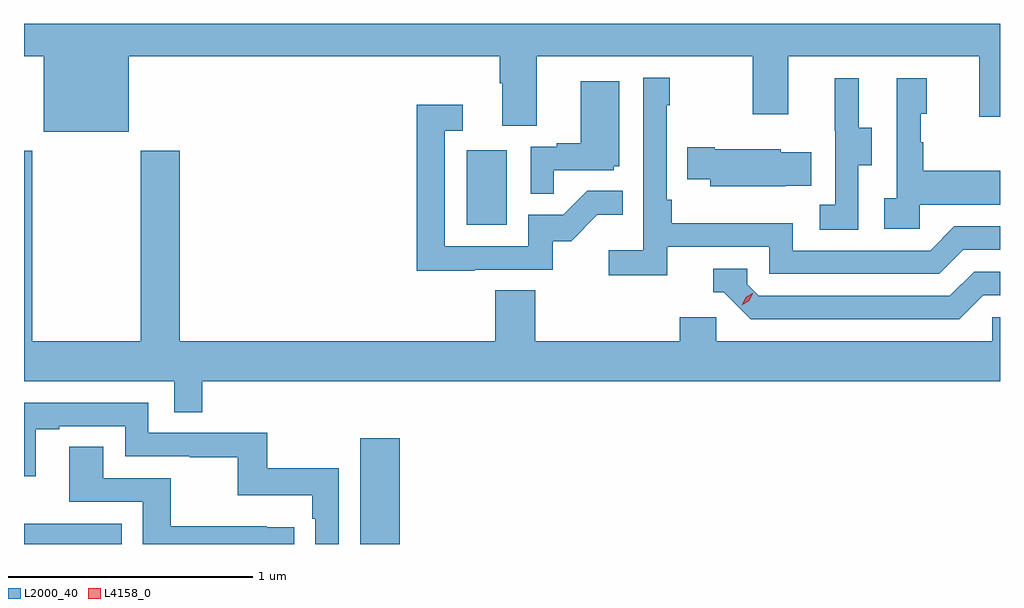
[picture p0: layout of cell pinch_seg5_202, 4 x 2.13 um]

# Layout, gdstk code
import gdstk
lib = gdstk.Library(unit=1e-6, precision=1e-09)
def R(c, l, rs):  # rectangles x0, y0, x1, y1
    for r in rs: c.add(gdstk.rectangle(r[:2], r[2:], *l))
def P(c, l, *ps):  # polygons
    for p in ps: c.add(gdstk.Polygon(p, *l))
L2000_40 = (2000, 40)
L4158_0 = (4158, 0)

pinch_seg5_202 = lib.new_cell('pinch_seg5_202')
R(pinch_seg5_202, L2000_40, [(986.238,913.368,986.639,913.452), (987.617,913.368,987.778,913.801), (988.052,914.676,988.216,914.983)])
P(pinch_seg5_202, L2000_40, [(986.668,915.368),(988.187,915.368),(988.187,915.256),(988.199,915.256),(988.199,915.082),(988.339,915.082),(988.339,915.368),(989.224,915.368),(989.224,915.129),(989.371,915.129),(989.371,915.368),(990.152,915.368),(990.152,915.12),(990.238,915.12),(990.238,915.5),(986.238,915.5),(986.238,915.368),(986.318,915.368),(986.318,915.059),(986.668,915.059)],
  [(988.874,914.586),(989.292,914.586),(989.292,914.475),(989.989,914.475),(990.088,914.574),(990.238,914.574),(990.238,914.67),(990.051,914.67),(989.952,914.571),(989.388,914.571),(989.388,914.683),(988.892,914.683),(988.892,914.779),(988.872,914.779),(988.872,915.167),(988.885,915.167),(988.885,915.28),(988.776,915.28),(988.776,914.572),(988.635,914.572),(988.635,914.47),(988.874,914.47)],
  [(989.91,914.759),(990.238,914.759),(990.238,914.899),(989.923,914.899),(989.923,915.014),(989.913,915.014),(989.913,915.132),(989.938,915.132),(989.938,915.277),(989.814,915.277),(989.814,914.786),(989.763,914.786),(989.763,914.661),(989.91,914.661)],
  [(989.658,914.92),(989.713,914.92),(989.713,915.075),(989.659,915.075),(989.659,915.277),(989.561,915.277),(989.561,915.063),(989.562,915.063),(989.562,914.759),(989.499,914.759),(989.499,914.656),(989.658,914.656)],
  [(988.409,914.901),(988.656,914.901),(988.656,914.916),(988.678,914.916),(988.678,915.265),(988.52,915.265),(988.52,915.01),(988.421,915.01),(988.421,914.997),(988.314,914.997),(988.314,914.803),(988.409,914.803)],
  [(988.085,914.493),(988.404,914.493),(988.404,914.61),(988.48,914.61),(988.587,914.717),(988.691,914.717),(988.691,914.816),(988.547,914.816),(988.449,914.718),(988.305,914.718),(988.305,914.589),(987.963,914.589),(987.963,915.063),(988.036,915.063),(988.036,915.169),(987.847,915.169),(987.847,914.488),(988.085,914.488)],
  [(989.357,914.837),(989.465,914.837),(989.465,914.974),(989.34,914.974),(989.34,914.986),(989.068,914.986),(989.068,914.994),(988.957,914.994),(988.957,914.864),(989.051,914.864),(989.051,914.834),(989.357,914.834)],
  [(990.238,914.298),(990.207,914.298),(990.207,914.2),(989.076,914.2),(989.076,914.298),(988.925,914.298),(988.925,914.2),(988.334,914.2),(988.334,914.408),(988.169,914.408),(988.169,914.2),(986.876,914.2),(986.876,914.98),(986.716,914.98),(986.716,914.2),(986.271,914.2),(986.271,914.98),(986.238,914.98),(986.238,914.036),(986.853,914.036),(986.853,913.909),(986.969,913.909),(986.969,914.036),(990.238,914.036)],
  [(990.169,914.388),(990.238,914.388),(990.238,914.484),(990.132,914.484),(990.033,914.385),(989.25,914.385),(989.202,914.433),(989.202,914.496),(989.063,914.496),(989.063,914.4),(989.106,914.4),(989.217,914.289),(990.07,914.289)],
  [(987.528,913.678),(987.235,913.678),(987.235,913.824),(986.748,913.824),(986.748,913.947),(986.238,913.947),(986.238,913.646),(986.287,913.646),(986.287,913.839),(986.383,913.839),(986.383,913.851),(986.652,913.851),(986.652,913.728),(986.917,913.728),(986.917,913.723),(987.114,913.723),(987.114,913.568),(987.419,913.568),(987.419,913.472),(987.432,913.472),(987.432,913.368),(987.528,913.368)],
  [(987.346,913.437),(987.233,913.437),(987.233,913.442),(986.84,913.442),(986.84,913.638),(986.563,913.638),(986.563,913.766),(986.423,913.766),(986.423,913.542),(986.724,913.542),(986.724,913.368),(987.346,913.368)])
P(pinch_seg5_202, L4158_0, [(989.179,914.346),(989.179,914.347),(989.195,914.379),(989.226,914.399),(989.226,914.399),(989.226,914.398),(989.21,914.366),(989.18,914.346)])

lib.write_gds('pinch_seg5_202.gds')
